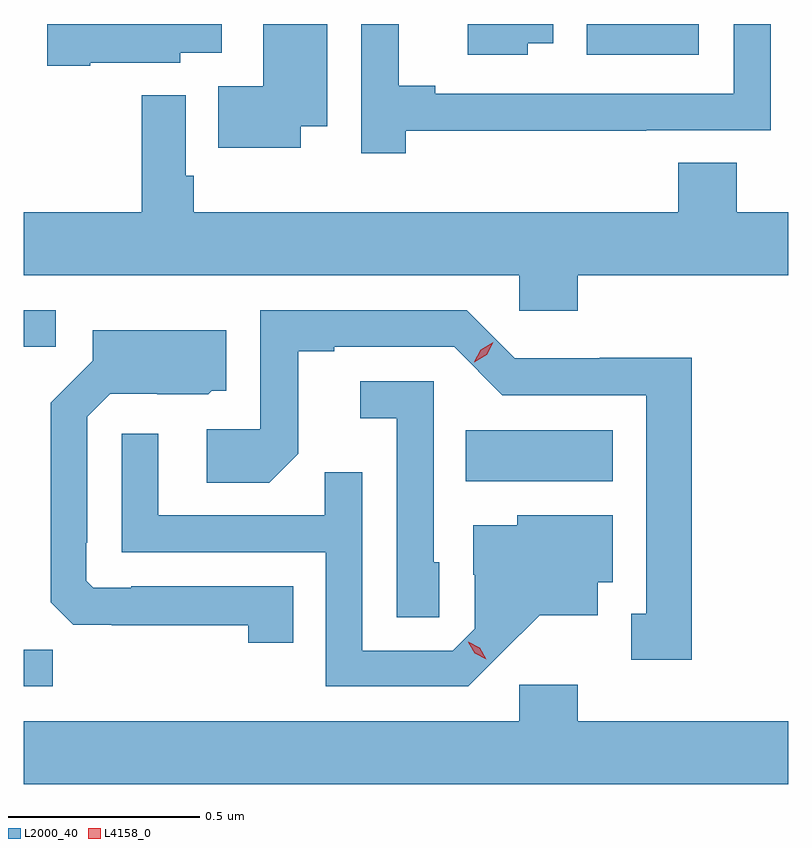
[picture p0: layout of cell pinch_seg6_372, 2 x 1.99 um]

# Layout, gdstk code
import gdstk
lib = gdstk.Library(unit=1e-6, precision=1e-09)
def R(c, l, rs):  # rectangles x0, y0, x1, y1
    for r in rs: c.add(gdstk.rectangle(r[:2], r[2:], *l))
def P(c, l, *ps):  # polygons
    for p in ps: c.add(gdstk.Polygon(p, *l))
L2000_40 = (2000, 40)
L4158_0 = (4158, 0)

pinch_seg6_372 = lib.new_cell('pinch_seg6_372')
R(pinch_seg6_372, L2000_40, [(664.793,948.924,664.869,949.019), (665.95,949.46,666.334,949.594), (664.793,949.812,664.876,949.908), (666.266,950.576,666.559,950.657)])
P(pinch_seg6_372, L2000_40, [(666.112,950.606),(666.178,950.606),(666.178,950.657),(665.954,950.657),(665.954,950.576),(666.112,950.576)],
  [(665.518,950.39),(665.587,950.39),(665.587,950.657),(665.42,950.657),(665.42,950.494),(665.302,950.494),(665.302,950.333),(665.518,950.333)],
  [(665.792,950.378),(666.422,950.378),(666.422,950.379),(666.747,950.379),(666.747,950.657),(666.651,950.657),(666.651,950.475),(665.869,950.475),(665.869,950.495),(665.774,950.495),(665.774,950.657),(665.676,950.657),(665.676,950.319),(665.792,950.319)],
  [(664.966,950.555),(665.202,950.555),(665.202,950.582),(665.311,950.582),(665.311,950.657),(664.854,950.657),(664.854,950.548),(664.966,950.548)],
  [(666.242,950),(666.793,950),(666.793,950.164),(666.658,950.164),(666.658,950.294),(666.506,950.294),(666.506,950.164),(665.237,950.164),(665.237,950.26),(665.217,950.26),(665.217,950.47),(665.101,950.47),(665.101,950.164),(664.793,950.164),(664.793,950),(666.09,950),(666.09,949.907),(666.242,949.907)],
  [(666.541,949.784),(666.3,949.784),(666.3,949.782),(666.078,949.782),(665.952,949.908),(665.412,949.908),(665.412,949.596),(665.271,949.596),(665.271,949.456),(665.435,949.456),(665.511,949.532),(665.511,949.8),(665.605,949.8),(665.605,949.812),(665.919,949.812),(666.045,949.686),(666.422,949.686),(666.422,949.113),(666.383,949.113),(666.383,948.993),(666.541,948.993)],
  [(665.498,949.185),(665.074,949.185),(665.074,949.182),(664.974,949.182),(664.956,949.2),(664.956,949.3),(664.959,949.3),(664.959,949.629),(665.019,949.689),(665.142,949.689),(665.142,949.688),(665.276,949.688),(665.285,949.697),(665.323,949.697),(665.323,949.855),(664.973,949.855),(664.973,949.776),(664.863,949.666),(664.863,949.144),(664.922,949.085),(665.023,949.085),(665.023,949.084),(665.38,949.084),(665.38,949.038),(665.498,949.038)],
  [(665.88,949.248),(665.865,949.248),(665.865,949.722),(665.673,949.722),(665.673,949.625),(665.769,949.625),(665.769,949.105),(665.88,949.105)],
  [(666.04,949.007),(666.143,949.109),(666.295,949.109),(666.295,949.196),(666.334,949.196),(666.334,949.372),(666.084,949.372),(666.084,949.345),(665.969,949.345),(665.969,949.216),(665.973,949.216),(665.973,949.074),(665.916,949.017),(665.679,949.017),(665.679,949.484),(665.581,949.484),(665.581,949.371),(665.145,949.371),(665.145,949.585),(665.049,949.585),(665.049,949.275),(665.583,949.275),(665.583,948.924),(665.956,948.924)],
  [(666.793,948.832),(666.242,948.832),(666.242,948.928),(666.09,948.928),(666.09,948.832),(664.793,948.832),(664.793,948.668),(666.793,948.668)])
P(pinch_seg6_372, L4158_0, [(665.972,949.772),(665.972,949.773),(665.989,949.805),(666.021,949.824),(666.021,949.824),(666.021,949.824),(666.004,949.791),(665.972,949.772)],
  [(666.003,948.995),(665.973,949.01),(665.956,949.039),(665.956,949.04),(665.956,949.04),(665.986,949.025),(666.003,948.995),(666.003,948.995)])

lib.write_gds('pinch_seg6_372.gds')
